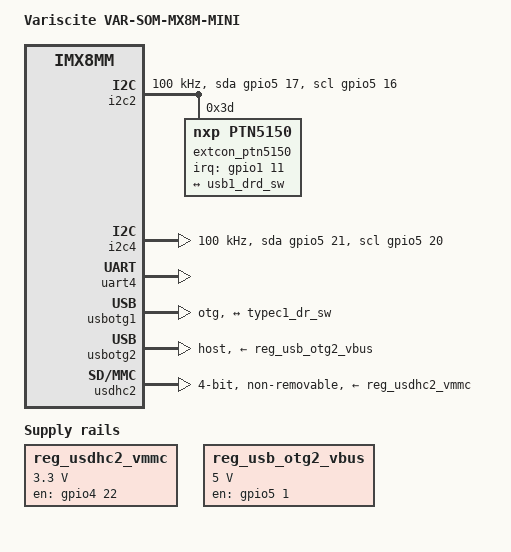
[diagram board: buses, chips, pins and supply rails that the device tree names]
// SPDX-License-Identifier: GPL-2.0+
/*
 * Copyright 2018 NXP
 * Copyright 2018-2023 Variscite Ltd.
 */

/dts-v1/;

#include "imx8mm-var-som.dtsi"

/ {
	model = "Variscite VAR-SOM-MX8M-MINI";
	compatible = "variscite,imx8mm-var-som", "fsl,imx8mm";

	chosen {
		stdout-path = &uart4;
	};

	reg_usdhc2_vmmc: regulator-usdhc2 {
		compatible = "regulator-fixed";
		pinctrl-names = "default";
		pinctrl-0 = <&pinctrl_reg_usdhc2_vmmc>;
		regulator-name = "VSD_3V3";
		regulator-min-microvolt = <3300000>;
		regulator-max-microvolt = <3300000>;
		gpio = <&gpio4 22 GPIO_ACTIVE_HIGH>;
		enable-active-high;
		startup-delay-us = <100>;
		u-boot,off-on-delay-us = <12000>;
	};

	reg_usb_otg2_vbus: regulator-usb-otg2-vbus {
		compatible = "regulator-fixed";
		pinctrl-names = "default";
		pinctrl-0 = <&pinctrl_reg_usbotg2>;
		regulator-name = "usb_otg2_vbus";
		regulator-min-microvolt = <5000000>;
		regulator-max-microvolt = <5000000>;
		gpio = <&gpio5 1 GPIO_ACTIVE_HIGH>;
		enable-active-high;
	};
};

&iomuxc {
	pinctrl_reg_usdhc2_vmmc: regulator-usdhc2 {
		fsl,pins = <
			MX8MM_IOMUXC_SAI2_RXC_GPIO4_IO22		0x41
		>;
	};

	pinctrl_uart4: uart4grp {
		fsl,pins = <
			MX8MM_IOMUXC_UART4_RXD_UART4_DCE_RX		0x140
			MX8MM_IOMUXC_UART4_TXD_UART4_DCE_TX		0x140
		>;
	};

	pinctrl_reg_usbotg2: regulator_usbotg2 {
		fsl,pins = <
			MX8MM_IOMUXC_SAI3_TXD_GPIO5_IO1			0x16
		>;
	};

	pinctrl_i2c2: i2c2grp {
		fsl,pins = <
			MX8MM_IOMUXC_I2C2_SCL_I2C2_SCL			0x400001c3
			MX8MM_IOMUXC_I2C2_SDA_I2C2_SDA			0x400001c3
		>;
	};

	pinctrl_i2c2_gpio: i2c2grp-gpio {
		fsl,pins = <
			MX8MM_IOMUXC_I2C2_SCL_GPIO5_IO16		0x1c3
			MX8MM_IOMUXC_I2C2_SDA_GPIO5_IO17		0x1c3
		>;
	};

	pinctrl_i2c4: i2c4grp {
		fsl,pins = <
			MX8MM_IOMUXC_I2C4_SCL_I2C4_SCL			0x400001c3
			MX8MM_IOMUXC_I2C4_SDA_I2C4_SDA			0x400001c3
		>;
	};

	pinctrl_i2c4_gpio: i2c4grp-gpio {
		fsl,pins = <
			MX8MM_IOMUXC_I2C4_SCL_GPIO5_IO20		0x1c3
			MX8MM_IOMUXC_I2C4_SDA_GPIO5_IO21		0x1c3
		>;
	};

	pinctrl_usdhc2: usdhc2grp {
		fsl,pins = <
			MX8MM_IOMUXC_SD2_CLK_USDHC2_CLK		0x190
			MX8MM_IOMUXC_SD2_CMD_USDHC2_CMD		0x1d0
			MX8MM_IOMUXC_SD2_DATA0_USDHC2_DATA0	0x1d0
			MX8MM_IOMUXC_SD2_DATA1_USDHC2_DATA1	0x1d0
			MX8MM_IOMUXC_SD2_DATA2_USDHC2_DATA2	0x1d0
			MX8MM_IOMUXC_SD2_DATA3_USDHC2_DATA3	0x1d0
			MX8MM_IOMUXC_GPIO1_IO04_USDHC2_VSELECT	0x1d0
		>;
	};

	pinctrl_usdhc2_100mhz: usdhc2grp100mhz {
		fsl,pins = <
			MX8MM_IOMUXC_SD2_CLK_USDHC2_CLK		0x194
			MX8MM_IOMUXC_SD2_CMD_USDHC2_CMD		0x1d4
			MX8MM_IOMUXC_SD2_DATA0_USDHC2_DATA0	0x1d4
			MX8MM_IOMUXC_SD2_DATA1_USDHC2_DATA1	0x1d4
			MX8MM_IOMUXC_SD2_DATA2_USDHC2_DATA2	0x1d4
			MX8MM_IOMUXC_SD2_DATA3_USDHC2_DATA3	0x1d4
			MX8MM_IOMUXC_GPIO1_IO04_USDHC2_VSELECT	0x1d0
		>;
	};

	pinctrl_usdhc2_200mhz: usdhc2grp200mhz {
		fsl,pins = <
			MX8MM_IOMUXC_SD2_CLK_USDHC2_CLK		0x196
			MX8MM_IOMUXC_SD2_CMD_USDHC2_CMD		0x1d6
			MX8MM_IOMUXC_SD2_DATA0_USDHC2_DATA0	0x1d6
			MX8MM_IOMUXC_SD2_DATA1_USDHC2_DATA1	0x1d6
			MX8MM_IOMUXC_SD2_DATA2_USDHC2_DATA2	0x1d6
			MX8MM_IOMUXC_SD2_DATA3_USDHC2_DATA3	0x1d6
			MX8MM_IOMUXC_GPIO1_IO04_USDHC2_VSELECT	0x1d0
		>;
	};

	pinctrl_extcon: extcongrp {
		fsl,pins = <
			MX8MM_IOMUXC_GPIO1_IO11_GPIO1_IO11		0x16
		>;
	};
};

&i2c2 {
	clock-frequency = <100000>;
	pinctrl-names = "default", "gpio";
	pinctrl-0 = <&pinctrl_i2c2>;
	pinctrl-1 = <&pinctrl_i2c2_gpio>;
	scl-gpios = <&gpio5 16 GPIO_ACTIVE_HIGH>;
	sda-gpios = <&gpio5 17 GPIO_ACTIVE_HIGH>;
	status = "okay";

	extcon_ptn5150: typec@3d {
		compatible = "nxp,ptn5150";
		pinctrl-names = "default";
		pinctrl-0 = <&pinctrl_extcon>;
		reg = <0x3d>;
		interrupt-parent = <&gpio1>;
		interrupts = <11 IRQ_TYPE_NONE>;
		irq-is-id-quirk;
		status = "okay";

		port {
			typec1_dr_sw: endpoint {
				remote-endpoint = <&usb1_drd_sw>;
			};
		};
	};
};

&i2c4 {
	clock-frequency = <100000>;
	pinctrl-names = "default", "gpio";
	pinctrl-0 = <&pinctrl_i2c4>;
	pinctrl-1 = <&pinctrl_i2c4_gpio>;
	scl-gpios = <&gpio5 20 GPIO_ACTIVE_HIGH>;
	sda-gpios = <&gpio5 21 GPIO_ACTIVE_HIGH>;
	status = "okay";
};

/* Console */
&uart4 {
	pinctrl-names = "default";
	pinctrl-0 = <&pinctrl_uart4>;
	status = "okay";
};

&usbotg1 {
	dr_mode = "otg";
	hnp-disable;
	srp-disable;
	adp-disable;
	usb-role-switch;
	disable-over-current;
	samsung,picophy-pre-emp-curr-control = <3>;
	samsung,picophy-dc-vol-level-adjust = <7>;
	status = "okay";

	port {
		usb1_drd_sw: endpoint {
			remote-endpoint = <&typec1_dr_sw>;
		};
	};
};

&usbotg2 {
	dr_mode = "host";
	/* Regulator requires jumper J3.12 to J3.18 */
	vbus-supply = <&reg_usb_otg2_vbus>;
	status = "okay";
};

/* SD */
&usdhc2 {
	pinctrl-names = "default", "state_100mhz", "state_200mhz";
	pinctrl-0 = <&pinctrl_usdhc2>;
	pinctrl-1 = <&pinctrl_usdhc2_100mhz>;
	pinctrl-2 = <&pinctrl_usdhc2_200mhz>;
	non-removable;
	bus-width = <4>;
	vmmc-supply = <&reg_usdhc2_vmmc>;
	no-1-8-v;
	status = "okay";
};
